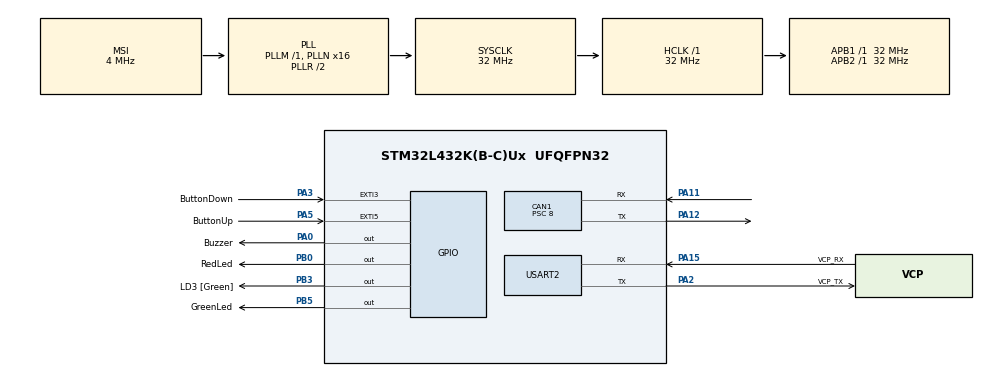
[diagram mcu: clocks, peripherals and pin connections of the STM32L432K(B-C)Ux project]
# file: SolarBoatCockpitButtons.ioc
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CAN1.ABOM=ENABLE
CAN1.BS1=CAN_BS1_8TQ
CAN1.BS2=CAN_BS2_7TQ
CAN1.CalculateBaudRate=250000
CAN1.CalculateTimeBit=4000
CAN1.CalculateTimeQuantum=250.0
CAN1.NART=ENABLE
CAN1.Prescaler=8
Mcu.Family=STM32L4
Mcu.Name=STM32L432K(B-C)Ux
Mcu.Package=UFQFPN32
NVIC.CAN1_RX0_IRQn=true\:3\:0\:true\:false\:true\:true\:true\:true
NVIC.EXTI3_IRQn=true\:1\:0\:true\:false\:true\:true\:true\:true
NVIC.EXTI9_5_IRQn=true\:1\:0\:true\:false\:true\:true\:true\:true
NVIC.PriorityGroup=NVIC_PRIORITYGROUP_4
NVIC.RCC_IRQn=true\:1\:0\:true\:false\:true\:true\:false\:true
NVIC.TIM2_IRQn=true\:2\:0\:true\:false\:true\:true\:true\:true
NVIC.TIM7_IRQn=true\:2\:0\:true\:false\:true\:true\:true\:true
PA0.GPIO_Label=Buzzer
PA0.Signal=GPIO_Output
PA11.Mode=CAN_Activate
PA11.Signal=CAN1_RX
PA12.Mode=CAN_Activate
PA12.Signal=CAN1_TX
PA13\ (JTMS-SWDIO).GPIO_Label=SWDIO
PA13\ (JTMS-SWDIO).Mode=Serial_Wire
PA13\ (JTMS-SWDIO).Signal=SYS_JTMS-SWDIO
PA14\ (JTCK-SWCLK).GPIO_Label=SWCLK
PA14\ (JTCK-SWCLK).Mode=Serial_Wire
PA14\ (JTCK-SWCLK).Signal=SYS_JTCK-SWCLK
PA15\ (JTDI).GPIO_Label=VCP_RX
PA15\ (JTDI).Mode=Asynchronous
PA15\ (JTDI).Signal=USART2_RX
PA2.GPIO_Label=VCP_TX
PA2.Mode=Asynchronous
PA2.Signal=USART2_TX
PA3.GPIO_Label=ButtonDown
PA3.GPIO_ModeDefaultEXTI=GPIO_MODE_IT_FALLING
PA3.Signal=GPXTI3
PA5.GPIO_Label=ButtonUp
PA5.GPIO_ModeDefaultEXTI=GPIO_MODE_IT_FALLING
PA5.Signal=GPXTI5
PB0.GPIO_Label=RedLed
PB0.Signal=GPIO_Output
PB3\ (JTDO-TRACESWO).GPIO_Label=LD3 [Green]
PB3\ (JTDO-TRACESWO).Signal=GPIO_Output
PB5.GPIO_Label=GreenLed
PB5.Signal=GPIO_Output
PC14-OSC32_IN\ (PC14).Mode=LSE-External-Oscillator
PC14-OSC32_IN\ (PC14).Signal=RCC_OSC32_IN
PC15-OSC32_OUT\ (PC15).Mode=LSE-External-Oscillator
PC15-OSC32_OUT\ (PC15).Signal=RCC_OSC32_OUT
ProjectManager.HeapSize=0x200
ProjectManager.StackSize=0x400
ProjectManager.TargetToolchain=STM32CubeIDE
RCC.AHBFreq_Value=32000000
RCC.APB1Freq_Value=32000000
RCC.APB1TimFreq_Value=32000000
RCC.APB2Freq_Value=32000000
RCC.APB2TimFreq_Value=32000000
RCC.CortexFreq_Value=32000000
RCC.HCLKFreq_Value=32000000
RCC.HSE_VALUE=8000000
RCC.HSI16_VALUE=16000000
RCC.HSI48_VALUE=48000000
RCC.HSI_VALUE=16000000
RCC.MSI_VALUE=4000000
RCC.PLLMUL=RCC_PLLMUL_4
RCC.PLLN=16
RCC.SYSCLKFreq_VALUE=32000000
RCC.SYSCLKSource=RCC_SYSCLKSOURCE_PLLCLK
RCC.VCOOutputFreq_Value=64000000
TIM2.AutoReloadPreload=TIM_AUTORELOAD_PRELOAD_DISABLE
TIM2.Period=100
TIM2.Prescaler=32000 - 1
TIM7.Period=1200
TIM7.Prescaler=32000-1
USART2.VirtualMode-Asynchronous=VM_ASYNC
VP_TIM2_VS_ClockSourceINT.Mode=Internal
VP_TIM7_VS_ClockSourceINT.Mode=Enable_Timer
board=NUCLEO-L432KC

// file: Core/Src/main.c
/* USER CODE BEGIN Header */
/**
  ******************************************************************************
  * @file           : main.c
  * @brief          : Main program body
  ******************************************************************************
  * @attention
  *
  * Copyright (c) 2023 STMicroelectronics.
  * All rights reserved.
  *
  * This software is licensed under terms that can be found in the LICENSE file
  * in the root directory of this software component.
  * If no LICENSE file comes with this software, it is provided AS-IS.
  *
  ******************************************************************************
  */
/* USER CODE END Header */
#include "main.h"
#include "can.h"
#include "tim.h"
#include "usart.h"
#include "gpio.h"

/* USER CODE BEGIN Includes */
#include <stdio.h>
#include "stm32l4xx.h"
#include "stm32l4xx_hal.h"

/* USER CODE END Includes */

/* USER CODE BEGIN PD */
#define MAX_STATE    12
#define MIN_STATE    0
#define TIMEBUZZER  1000

/* USER CODE END PD */

/* USER CODE BEGIN PV */
volatile uint8_t servoState;
int ledState;
/* USER CODE END PV */

void SystemClock_Config(void);

/* USER CODE BEGIN PFP */
void MainLoop(void);

void SysTick_Handler(void);
/* USER CODE END PFP */

/* USER CODE BEGIN 0 */
enum ledStates {
    RED, GREEN
};
volatile bool timExpired = true;
/* USER CODE END 0 */

int main(void) {

    /* MCU Configuration--------------------------------------------------------*/

    /* Reset of all peripherals, Initializes the Flash interface and the Systick. */
    HAL_Init();

    /* Configure the system clock */
    SystemClock_Config();

    /* USER CODE BEGIN SysInit */
    SysTick_Config(SystemCoreClock / 1000);

    /* USER CODE END SysInit */

    /* Initialize all configured peripherals */
    MX_GPIO_Init();
    MX_CAN1_Init();
    MX_TIM2_Init();
    MX_USART2_UART_Init();
    MX_TIM7_Init();
    /* USER CODE BEGIN 2 */

    SEND_STRING("Completed init\n\r");

    CAN_TX_filter_init();
    servoState = 8;
    CAN_SendState(servoState);

    if (HAL_TIM_Base_Start_IT(&htim2) != HAL_OK) {
        Error_Handler();
    }
    if (HAL_TIM_Base_Start_IT(&htim7) != HAL_OK) {
        Error_Handler();
    }

    //Testfunction leds
    HAL_GPIO_WritePin(GPIOB, GreenLed_Pin, RESET);
    HAL_GPIO_WritePin(GPIOB, RedLed_Pin, SET);
    for (int i = 0; i < 6; i++) {
        HAL_GPIO_TogglePin(GPIOB, GreenLed_Pin);
        HAL_GPIO_TogglePin(GPIOB, RedLed_Pin);
        HAL_Delay(500);
    }
    ledState = RED;
    HAL_GPIO_WritePin(GPIOB, GreenLed_Pin, RESET);
    HAL_GPIO_WritePin(GPIOB, RedLed_Pin, SET);
    /* USER CODE END 2 */

    /* Infinite loop */
    /* USER CODE BEGIN WHILE */
    HAL_GPIO_WritePin(GPIOB, LD3_Pin, SET);

    while (1) {
        /* USER CODE END WHILE */
        MainLoop();
    }
}

void SystemClock_Config(void) {
    RCC_OscInitTypeDef RCC_OscInitStruct = {0};
    RCC_ClkInitTypeDef RCC_ClkInitStruct = {0};

    /** Configure the main internal regulator output voltage
    */
    if (HAL_PWREx_ControlVoltageScaling(PWR_REGULATOR_VOLTAGE_SCALE1) != HAL_OK) {
        Error_Handler();
    }

    /** Configure LSE Drive Capability
    */
    HAL_PWR_EnableBkUpAccess();
    __HAL_RCC_LSEDRIVE_CONFIG(RCC_LSEDRIVE_LOW);

    /** Initializes the RCC Oscillators according to the specified parameters
    * in the RCC_OscInitTypeDef structure.
    */
    RCC_OscInitStruct.OscillatorType = RCC_OSCILLATORTYPE_LSE | RCC_OSCILLATORTYPE_MSI;
    RCC_OscInitStruct.LSEState = RCC_LSE_ON;
    RCC_OscInitStruct.MSIState = RCC_MSI_ON;
    RCC_OscInitStruct.MSICalibrationValue = 0;
    RCC_OscInitStruct.MSIClockRange = RCC_MSIRANGE_6;
    RCC_OscInitStruct.PLL.PLLState = RCC_PLL_ON;
    RCC_OscInitStruct.PLL.PLLSource = RCC_PLLSOURCE_MSI;
    RCC_OscInitStruct.PLL.PLLM = 1;
    RCC_OscInitStruct.PLL.PLLN = 16;
    RCC_OscInitStruct.PLL.PLLP = RCC_PLLP_DIV7;
    RCC_OscInitStruct.PLL.PLLQ = RCC_PLLQ_DIV2;
    RCC_OscInitStruct.PLL.PLLR = RCC_PLLR_DIV2;
    if (HAL_RCC_OscConfig(&RCC_OscInitStruct) != HAL_OK) {
        Error_Handler();
    }

    /** Initializes the CPU, AHB and APB buses clocks
    */
    RCC_ClkInitStruct.ClockType = RCC_CLOCKTYPE_HCLK | RCC_CLOCKTYPE_SYSCLK
                                  | RCC_CLOCKTYPE_PCLK1 | RCC_CLOCKTYPE_PCLK2;
    RCC_ClkInitStruct.SYSCLKSource = RCC_SYSCLKSOURCE_PLLCLK;
    RCC_ClkInitStruct.AHBCLKDivider = RCC_SYSCLK_DIV1;
    RCC_ClkInitStruct.APB1CLKDivider = RCC_HCLK_DIV1;
    RCC_ClkInitStruct.APB2CLKDivider = RCC_HCLK_DIV1;

    if (HAL_RCC_ClockConfig(&RCC_ClkInitStruct, FLASH_LATENCY_1) != HAL_OK) {
        Error_Handler();
    }

    /** Enable MSI Auto calibration
    */
    HAL_RCCEx_EnableMSIPLLMode();
}

/* USER CODE BEGIN 4 */

void MainLoop(void) {
    static uint32_t stoptime;
    if (ledState != RED && timExpired == 1) {
        ledState = RED;
        HAL_GPIO_WritePin(GPIOB, RedLed_Pin, SET);
        HAL_GPIO_WritePin(GPIOB, GreenLed_Pin, RESET);
        HAL_GPIO_WritePin(GPIOA, Buzzer_Pin, RESET);
    } else if (ledState != GREEN && timExpired == 0) {
        ledState = GREEN;
        HAL_GPIO_WritePin(GPIOB, RedLed_Pin, RESET);
        HAL_GPIO_WritePin(GPIOB, GreenLed_Pin, SET);
        stoptime = HAL_GetTick();
        HAL_GPIO_WritePin(GPIOA, Buzzer_Pin, SET);
    }

    if (HAL_GetTick() > (stoptime + TIMEBUZZER)) {
        HAL_GPIO_WritePin(GPIOA, Buzzer_Pin, RESET);
    }
}

void HAL_TIM_PeriodElapsedCallback(TIM_HandleTypeDef *htim) {
    if (htim == &htim2) {
        CAN_SendState(servoState);
    }
    if (htim == &htim7) {
        timExpired = 1;
    }
}

void HAL_GPIO_EXTI_Callback(uint16_t GPIO_Pin) {
    char uart_buf[50];
    uint8_t uart_buf_len;

    if (GPIO_Pin == ButtonDown_Pin) {
        if (servoState > MIN_STATE) {
            servoState -= 1;
        }
    } else if (GPIO_Pin == ButtonUp_Pin) {
        if (servoState < MAX_STATE) {
            servoState += 1;
        }
    } else {
        __NOP();
    }

    uart_buf_len = sprintf(uart_buf, "servoState : %u\n\r", servoState);
    UART_Send(uart_buf, uart_buf_len);
    CAN_SendState(servoState);
}

/* USER CODE END 4 */

void Error_Handler(void) {
    /* USER CODE BEGIN Error_Handler_Debug */
    HAL_GPIO_WritePin(GPIOB, RedLed_Pin, RESET);
    HAL_GPIO_WritePin(GPIOA, Buzzer_Pin, RESET);
    HAL_GPIO_WritePin(GPIOB, LD3_Pin, RESET);
    CAN_Print_Errors();

    SEND_STRING("Resetting due to error\n\r");

    __disable_irq();  // Ensure no interrupts interfere
    NVIC_SystemReset(); // Software reset

    while (1) { //Wait on reboot
    }

    /* USER CODE END Error_Handler_Debug */
}
